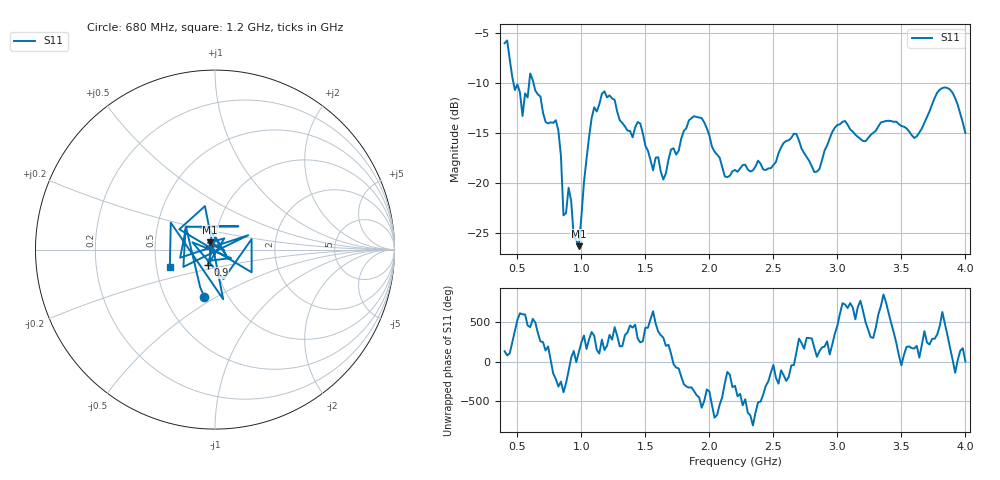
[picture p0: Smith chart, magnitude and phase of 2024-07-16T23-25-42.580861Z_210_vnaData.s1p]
!Created with skrf (http://scikit-rf.org).
# Hz S RI R 50.0
!freq ReS11 ImS11
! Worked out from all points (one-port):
!   181 points, 400 MHz to 4 GHz, reference 50 ohm
!   lowest |S11| = -26.3 dB at 980 MHz (marker M1), VSWR 1.10, Z = 47.3 + j3.86 ohm
!   |S11| at or under -10 dB: 469.9 MHz to 591.7 MHz (121.8 MHz wide, 23 % of centre); 626.4 MHz to end of sweep
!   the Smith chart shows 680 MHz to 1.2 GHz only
!   S11 on the Smith chart (normalised r, x): 680 MHz: 0.78, -0.45; 900 MHz: 0.91, -0.16; 1.2 GHz: 0.59, -0.12
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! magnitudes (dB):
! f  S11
! 400 MHz  -6.0
! 540 MHz  -13.3
! 600 MHz  -9.0
! 680 MHz  -11.3
! 820 MHz  -14.7
! 840 MHz  -17.2
! 860 MHz  -23.2
! 900 MHz  -20.4
! 940 MHz  -25.3
! 980 MHz  -26.3
! 1.08 GHz  -13.5
! 1.2 GHz  -11.4
! 1.3 GHz  -13.7
! 1.46 GHz  -14.0
! 1.64 GHz  -19.6
! 1.76 GHz  -16.7
! 1.84 GHz  -13.7
! 1.94 GHz  -13.5
! 2.12 GHz  -19.3
! 2.2 GHz  -18.7
! 2.48 GHz  -18.5
! 2.66 GHz  -15.0
! 2.82 GHz  -18.9
! 2.98 GHz  -14.4
! 3.1 GHz  -14.6
! 3.56 GHz  -14.8
! 3.84 GHz  -10.4
! 4 GHz  -15.0
